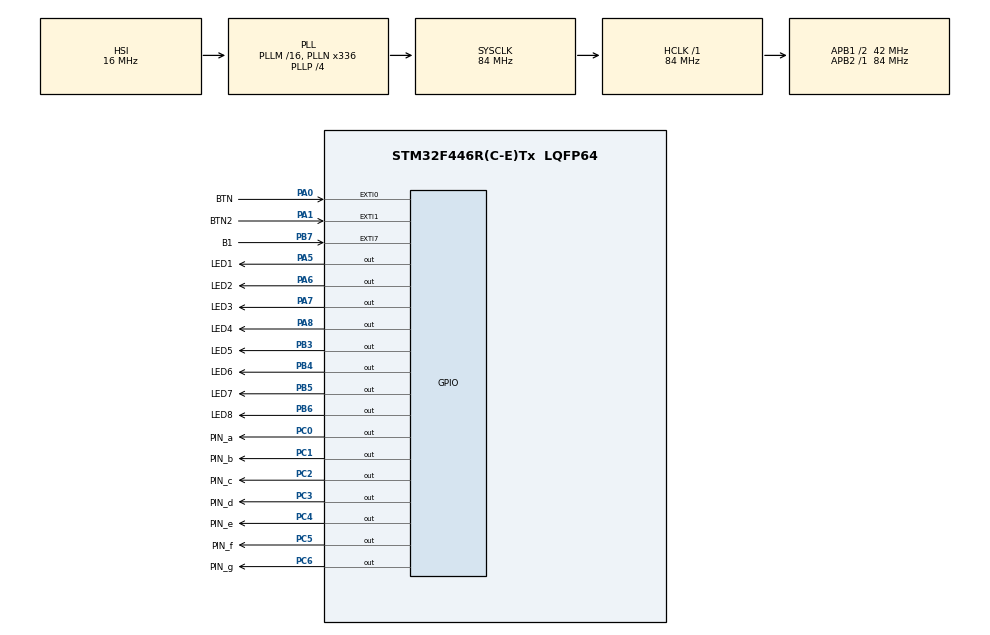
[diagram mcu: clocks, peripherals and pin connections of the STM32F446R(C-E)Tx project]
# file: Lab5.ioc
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Mcu.Family=STM32F4
Mcu.Name=STM32F446R(C-E)Tx
Mcu.Package=LQFP64
NVIC.EXTI0_IRQn=true\:0\:0\:false\:false\:true\:true\:true\:true
NVIC.EXTI1_IRQn=true\:0\:0\:false\:false\:true\:true\:true\:true
NVIC.PriorityGroup=NVIC_PRIORITYGROUP_0
PA0-WKUP.GPIO_Label=BTN
PA0-WKUP.GPIO_PuPd=GPIO_PULLDOWN
PA0-WKUP.Signal=GPXTI0
PA1.GPIO_Label=BTN2
PA1.GPIO_PuPd=GPIO_PULLDOWN
PA1.Signal=GPXTI1
PA13.GPIO_Label=TMS
PA13.Mode=Serial_Wire
PA13.Signal=SYS_JTMS-SWDIO
PA14.GPIO_Label=TCK
PA14.Mode=Serial_Wire
PA14.Signal=SYS_JTCK-SWCLK
PA5.GPIO_Label=LED1
PA5.Signal=GPIO_Output
PA6.GPIO_Label=LED2
PA6.Signal=GPIO_Output
PA7.GPIO_Label=LED3
PA7.Signal=GPIO_Output
PA8.GPIO_Label=LED4
PA8.Signal=GPIO_Output
PB3.GPIO_Label=LED5
PB3.Signal=GPIO_Output
PB4.GPIO_Label=LED6
PB4.Signal=GPIO_Output
PB5.GPIO_Label=LED7
PB5.Signal=GPIO_Output
PB6.GPIO_Label=LED8
PB6.Signal=GPIO_Output
PB7.GPIO_Label=B1
PB7.Signal=GPXTI7
PC0.GPIO_Label=PIN_a
PC0.Signal=GPIO_Output
PC1.GPIO_Label=PIN_b
PC1.Signal=GPIO_Output
PC14-OSC32_IN.Mode=LSE-External-Oscillator
PC14-OSC32_IN.Signal=RCC_OSC32_IN
PC15-OSC32_OUT.Mode=LSE-External-Oscillator
PC15-OSC32_OUT.Signal=RCC_OSC32_OUT
PC2.GPIO_Label=PIN_c
PC2.Signal=GPIO_Output
PC3.GPIO_Label=PIN_d
PC3.Signal=GPIO_Output
PC4.GPIO_Label=PIN_e
PC4.Signal=GPIO_Output
PC5.GPIO_Label=PIN_f
PC5.Signal=GPIO_Output
PC6.GPIO_Label=PIN_g
PC6.Signal=GPIO_Output
PH0-OSC_IN.Mode=HSE-External-Oscillator
PH0-OSC_IN.Signal=RCC_OSC_IN
PH1-OSC_OUT.Mode=HSE-External-Oscillator
PH1-OSC_OUT.Signal=RCC_OSC_OUT
ProjectManager.HeapSize=0x200
ProjectManager.StackSize=0x400
ProjectManager.TargetToolchain=STM32CubeIDE
RCC.48MHZClocksFreq_Value=84000000
RCC.AHBFreq_Value=84000000
RCC.APB1CLKDivider=RCC_HCLK_DIV2
RCC.APB1Freq_Value=42000000
RCC.APB1TimFreq_Value=84000000
RCC.APB2Freq_Value=84000000
RCC.APB2TimFreq_Value=84000000
RCC.CortexFreq_Value=84000000
RCC.FLatency-AdvancedSettings=FLASH_LATENCY_2
RCC.HCLKFreq_Value=84000000
RCC.HSE_VALUE=8000000
RCC.HSI_VALUE=16000000
RCC.PLLN=336
RCC.PLLP=RCC_PLLP_DIV4
RCC.SYSCLKFreq_VALUE=84000000
RCC.SYSCLKSource=RCC_SYSCLKSOURCE_PLLCLK
RCC.USBFreq_Value=168000000
RCC.VCOOutputFreq_Value=336000000
board=NUCLEO-F446RE

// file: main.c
/* USER CODE BEGIN Header */
/**
  ******************************************************************************
  * @file           : main.c
  * @brief          : Main program body
  ******************************************************************************
  * @attention
  *
  * Copyright (c) 2025 STMicroelectronics.
  * All rights reserved.
  *
  * This software is licensed under terms that can be found in the LICENSE file
  * in the root directory of this software component.
  * If no LICENSE file comes with this software, it is provided AS-IS.
  *
  ******************************************************************************
  */
/* USER CODE END Header */
#include "main.h"

/* USER CODE BEGIN PV */
uint16_t Init = 0; // 0: Carrera no iniciada, 1: Carrera en progreso
uint16_t contador1 = 0;
uint16_t DispCont1 = 0;
uint16_t contador2 = 0;
uint16_t DispCont2 = 0;

// Patrones para el display de 7 segmentos (0-5)
uint8_t display_patterns[6] = {
    0b01000000, // 0
    0b11111001, // 1
    0b10100100, // 2
    0b00110000, // 3
    0b10011001, // 4
    0b10010010  // 5
};

void ActDisp1(void);
void ActDisp2(void);
void DisplayNumber(uint8_t number);
void StartRace(void);
void ResetGame(void);
/* USER CODE END PV */

void SystemClock_Config(void);
static void MX_GPIO_Init(void);

int main(void)
{
    HAL_Init();
    SystemClock_Config();
    MX_GPIO_Init();

    /* USER CODE BEGIN 2 */
    // Inicializar el display apagado
    DisplayNumber(0);

    /* USER CODE END 2 */

    /* Infinite loop */
    /* USER CODE BEGIN WHILE */
    while (1)
    {
        // Verificar si se ha presionado el botón de inicio
        if (HAL_GPIO_ReadPin(B1_GPIO_Port, B1_Pin) == GPIO_PIN_SET) {
            StartRace();
        }

        // Mostrar el estado de los contadores en los LEDs
        HAL_GPIO_WritePin(LED1_GPIO_Port, LED1_Pin, (DispCont1 >> 0) & 1);
        HAL_GPIO_WritePin(LED2_GPIO_Port, LED2_Pin, (DispCont1 >> 1) & 1);
        HAL_GPIO_WritePin(LED3_GPIO_Port, LED3_Pin, (DispCont1 >> 2) & 1);
        HAL_GPIO_WritePin(LED4_GPIO_Port, LED4_Pin, (DispCont1 >> 3) & 1);
        HAL_Delay(200);
        HAL_GPIO_WritePin(LED5_GPIO_Port, LED5_Pin, (DispCont2 >> 0) & 1);
        HAL_GPIO_WritePin(LED6_GPIO_Port, LED6_Pin, (DispCont2 >> 1) & 1);
        HAL_GPIO_WritePin(LED7_GPIO_Port, LED7_Pin, (DispCont2 >> 2) & 1);
        HAL_GPIO_WritePin(LED8_GPIO_Port, LED8_Pin, (DispCont2 >> 3) & 1);
        HAL_Delay(200);
        /* USER CODE END WHILE */

    }
}

void SystemClock_Config(void)
{
    RCC_OscInitTypeDef RCC_OscInitStruct = {0};
    RCC_ClkInitTypeDef RCC_ClkInitStruct = {0};

    /** Configure the main internal regulator output voltage
    */
    __HAL_RCC_PWR_CLK_ENABLE();
    __HAL_PWR_VOLTAGESCALING_CONFIG(PWR_REGULATOR_VOLTAGE_SCALE3);

    /** Initializes the RCC Oscillators according to the specified parameters
    * in the RCC_OscInitTypeDef structure.
    */
    RCC_OscInitStruct.OscillatorType = RCC_OSCILLATORTYPE_HSI;
    RCC_OscInitStruct.HSIState = RCC_HSI_ON;
    RCC_OscInitStruct.HSICalibrationValue = RCC_HSICALIBRATION_DEFAULT;
    RCC_OscInitStruct.PLL.PLLState = RCC_PLL_ON;
    RCC_OscInitStruct.PLL.PLLSource = RCC_PLLSOURCE_HSI;
    RCC_OscInitStruct.PLL.PLLM = 16;
    RCC_OscInitStruct.PLL.PLLN = 336;
    RCC_OscInitStruct.PLL.PLLP = RCC_PLLP_DIV4;
    RCC_OscInitStruct.PLL.PLLQ = 2;
    RCC_OscInitStruct.PLL.PLLR = 2;
    if (HAL_RCC_OscConfig(&RCC_OscInitStruct) != HAL_OK)
    {
        Error_Handler();
    }

    /** Initializes the CPU, AHB and APB buses clocks
    */
    RCC_ClkInitStruct.ClockType = RCC_CLOCKTYPE_HCLK|RCC_CLOCKTYPE_SYSCLK
                                |RCC_CLOCKTYPE_PCLK1|RCC_CLOCKTYPE_PCLK2;
    RCC_ClkInitStruct.SYSCLKSource = RCC_SYSCLKSOURCE_PLLCLK;
    RCC_ClkInitStruct.AHBCLKDivider = RCC_SYSCLK_DIV1;
    RCC_ClkInitStruct.APB1CLKDivider = RCC_HCLK_DIV2;
    RCC_ClkInitStruct.APB2CLKDivider = RCC_HCLK_DIV1;

    if (HAL_RCC_ClockConfig(&RCC_ClkInitStruct, FLASH_LATENCY_2) != HAL_OK)
    {
        Error_Handler();
    }
}

static void MX_GPIO_Init(void)
{
    GPIO_InitTypeDef GPIO_InitStruct = {0};

    /* GPIO Ports Clock Enable */
    __HAL_RCC_GPIOC_CLK_ENABLE();
    __HAL_RCC_GPIOH_CLK_ENABLE();
    __HAL_RCC_GPIOA_CLK_ENABLE();
    __HAL_RCC_GPIOB_CLK_ENABLE();

    /*Configure GPIO pin Output Level */
    HAL_GPIO_WritePin(GPIOC, PIN_a_Pin|PIN_b_Pin|PIN_c_Pin|PIN_d_Pin
                            |PIN_e_Pin|PIN_f_Pin|PIN_g_Pin, GPIO_PIN_RESET);

    /*Configure GPIO pin Output Level */
    HAL_GPIO_WritePin(GPIOA, LED1_Pin|LED2_Pin|LED3_Pin|LED4_Pin, GPIO_PIN_RESET);

    /*Configure GPIO pin Output Level */
    HAL_GPIO_WritePin(GPIOB, LED5_Pin|LED6_Pin|LED7_Pin|LED8_Pin, GPIO_PIN_RESET);

    /*Configure GPIO pin : B1_Pin */
    GPIO_InitStruct.Pin = B1_Pin;
    GPIO_InitStruct.Mode = GPIO_MODE_INPUT;
    GPIO_InitStruct.Pull = GPIO_PULLDOWN;  // Configuración con pulldown
    HAL_GPIO_Init(B1_GPIO_Port, &GPIO_InitStruct);

    /*Configure GPIO pins : PIN_a_Pin PIN_b_Pin PIN_c_Pin PIN_d_Pin
                           PIN_e_Pin PIN_f_Pin PIN_g_Pin */
    GPIO_InitStruct.Pin = PIN_a_Pin|PIN_b_Pin|PIN_c_Pin|PIN_d_Pin
                          |PIN_e_Pin|PIN_f_Pin|PIN_g_Pin;
    GPIO_InitStruct.Mode = GPIO_MODE_OUTPUT_PP;
    GPIO_InitStruct.Pull = GPIO_NOPULL;
    GPIO_InitStruct.Speed = GPIO_SPEED_FREQ_LOW;
    HAL_GPIO_Init(GPIOC, &GPIO_InitStruct);

    /*Configure GPIO pins : BTN_Pin BTN2_Pin */
    GPIO_InitStruct.Pin = BTN_Pin|BTN2_Pin;
    GPIO_InitStruct.Mode = GPIO_MODE_IT_RISING;
    GPIO_InitStruct.Pull = GPIO_PULLDOWN;
    HAL_GPIO_Init(GPIOA, &GPIO_InitStruct);

    /*Configure GPIO pins : LED1_Pin LED2_Pin LED3_Pin LED4_Pin */
    GPIO_InitStruct.Pin = LED1_Pin|LED2_Pin|LED3_Pin|LED4_Pin;
    GPIO_InitStruct.Mode = GPIO_MODE_OUTPUT_PP;
    GPIO_InitStruct.Pull = GPIO_NOPULL;
    GPIO_InitStruct.Speed = GPIO_SPEED_FREQ_LOW;
    HAL_GPIO_Init(GPIOA, &GPIO_InitStruct);

    /*Configure GPIO pins : LED5_Pin LED6_Pin LED7_Pin LED8_Pin */
    GPIO_InitStruct.Pin = LED5_Pin|LED6_Pin|LED7_Pin|LED8_Pin;
    GPIO_InitStruct.Mode = GPIO_MODE_OUTPUT_PP;
    GPIO_InitStruct.Pull = GPIO_NOPULL;
    GPIO_InitStruct.Speed = GPIO_SPEED_FREQ_LOW;
    HAL_GPIO_Init(GPIOB, &GPIO_InitStruct);

    /* EXTI interrupt init*/
    HAL_NVIC_SetPriority(EXTI0_IRQn, 0, 0);
    HAL_NVIC_EnableIRQ(EXTI0_IRQn);

    HAL_NVIC_SetPriority(EXTI1_IRQn, 0, 0);
    HAL_NVIC_EnableIRQ(EXTI1_IRQn);
}

/* USER CODE BEGIN 4 */
void HAL_GPIO_EXTI_Callback(uint16_t GPIO_Pin) {
    if (Init == 1) {  // Solo permitir incrementar contadores si la carrera ha comenzado
        if (GPIO_Pin == BTN_Pin) {
            contador1++;
            if (contador1 > 4) contador1 = 0;
            ActDisp1();
        } else if (GPIO_Pin == BTN2_Pin) {
            contador2++;
            if (contador2 > 4) contador2 = 0;
            ActDisp2();
        }

        // Verificar si algún jugador ha ganado
        if (contador1 == 4) {
            DisplayNumber(1); // Mostrar "1" en el display
            Init = 0; // Deshabilitar los botones
        } else if (contador2 == 4) {
            DisplayNumber(2); // Mostrar "2" en el display
            Init = 0; // Deshabilitar los botones
        }
    }
}

void ActDisp1(void) {
    switch (contador1) {
        case 1:
            DispCont1 = 0x1;
            break;
        case 2:
            DispCont1 = 0x2;
            break;
        case 3:
            DispCont1 = 0x4;
            break;
        case 4:
            DispCont1 = 0xF;
            break;
        default:
            DispCont1 = 0x0;
            break;
    }
}

void ActDisp2(void) {
    switch (contador2) {
        case 1:
            DispCont2 = 0x1;
            break;
        case 2:
            DispCont2 = 0x2;
            break;
        case 3:
            DispCont2 = 0x4;
            break;
        case 4:
            DispCont2 = 0xF;
            break;
        default:
            DispCont2 = 0x0;
            break;
    }
}

void DisplayNumber(uint8_t number) {
    if (number > 5) return; // Solo mostramos números del 0 al 5
    HAL_GPIO_WritePin(GPIOC, PIN_a_Pin, (display_patterns[number] >> 0) & 1);
    HAL_GPIO_WritePin(GPIOC, PIN_b_Pin, (display_patterns[number] >> 1) & 1);
    HAL_GPIO_WritePin(GPIOC, PIN_c_Pin, (display_patterns[number] >> 2) & 1);
    HAL_GPIO_WritePin(GPIOC, PIN_d_Pin, (display_patterns[number] >> 3) & 1);
    HAL_GPIO_WritePin(GPIOC, PIN_e_Pin, (display_patterns[number] >> 4) & 1);
    HAL_GPIO_WritePin(GPIOC, PIN_f_Pin, (display_patterns[number] >> 5) & 1);
    HAL_GPIO_WritePin(GPIOC, PIN_g_Pin, (display_patterns[number] >> 6) & 1);
}

void ResetGame(void) {
    // Reiniciar contadores
    contador1 = 0;
    contador2 = 0;
    DispCont1 = 0;
    DispCont2 = 0;

    // Apagar todos los LEDs del jugador 1
    HAL_GPIO_WritePin(LED1_GPIO_Port, LED1_Pin, GPIO_PIN_RESET);
    HAL_GPIO_WritePin(LED2_GPIO_Port, LED2_Pin, GPIO_PIN_RESET);
    HAL_GPIO_WritePin(LED3_GPIO_Port, LED3_Pin, GPIO_PIN_RESET);
    HAL_GPIO_WritePin(LED4_GPIO_Port, LED4_Pin, GPIO_PIN_RESET);

    // Apagar todos los LEDs del jugador 2
    HAL_GPIO_WritePin(LED5_GPIO_Port, LED5_Pin, GPIO_PIN_RESET);
    HAL_GPIO_WritePin(LED6_GPIO_Port, LED6_Pin, GPIO_PIN_RESET);
    HAL_GPIO_WritePin(LED7_GPIO_Port, LED7_Pin, GPIO_PIN_RESET);
    HAL_GPIO_WritePin(LED8_GPIO_Port, LED8_Pin, GPIO_PIN_RESET);

    // Mostrar "0" en el display
    DisplayNumber(0);
}

void StartRace(void) {

    // Reiniciar el juego antes de comenzar la carrera
    ResetGame();

    // Iniciar el conteo regresivo
    for (int i = 5; i >= 0; i--) {
        DisplayNumber(i);
        HAL_Delay(1000); // Espera 1 segundo entre cada número
    }

    // Habilitar los botones de los jugadores
    Init = 1;
}
/* USER CODE END 4 */

void Error_Handler(void)
{
    __disable_irq();
    while (1)
    {
    }
}
